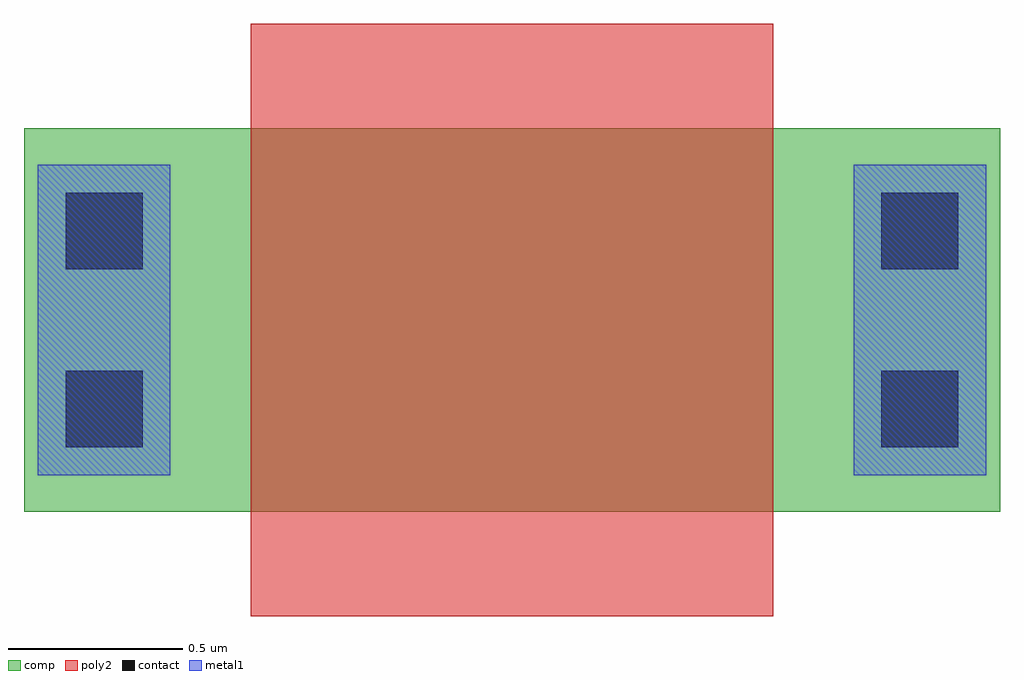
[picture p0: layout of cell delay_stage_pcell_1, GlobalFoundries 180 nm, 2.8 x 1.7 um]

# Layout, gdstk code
import gdstk
lib = gdstk.Library(unit=1e-6, precision=5e-09)
def R(c, l, rs):  # rectangles x0, y0, x1, y1
    for r in rs: c.add(gdstk.rectangle(r[:2], r[2:], *l))
comp = (22, 0)
poly2 = (30, 0)
contact = (33, 0)
metal1 = (34, 0)

delay_stage_pcell_1 = lib.new_cell('delay_stage_pcell_1')
R(delay_stage_pcell_1, comp, [(0.17,0.3,0.63,1.4), (0.63,0.3,2.51,1.4), (2.51,0.3,2.97,1.4)])
R(delay_stage_pcell_1, poly2, [(0.82,0,2.32,1.7)])
R(delay_stage_pcell_1, contact, [(0.29,0.485,0.51,0.705), (2.63,0.485,2.85,0.705), (0.29,0.995,0.51,1.215), (2.63,0.995,2.85,1.215)])
R(delay_stage_pcell_1, metal1, [(0.21,0.405,0.59,1.295), (2.55,0.405,2.93,1.295)])

lib.write_gds('delay_stage_pcell_1.gds')
